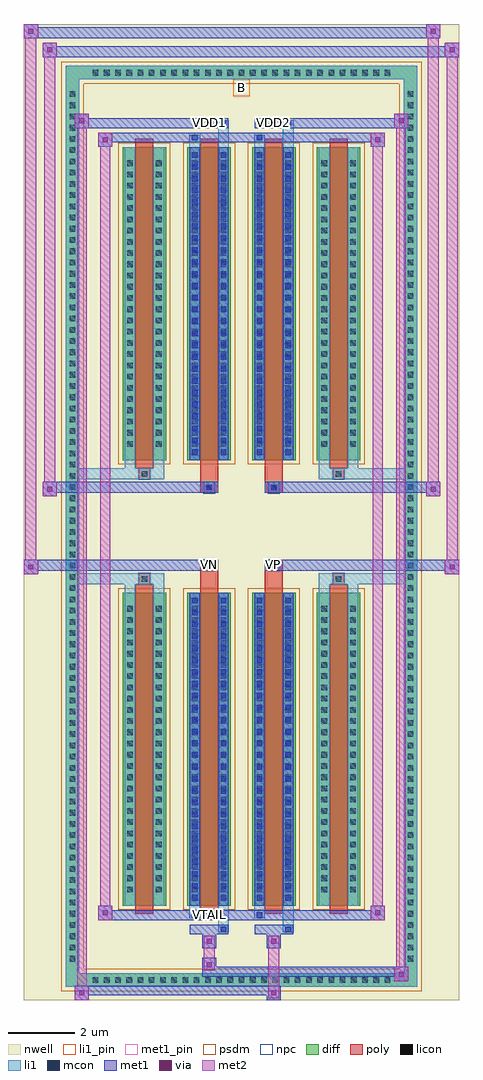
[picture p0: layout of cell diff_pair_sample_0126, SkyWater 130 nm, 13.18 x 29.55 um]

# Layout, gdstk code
import gdstk
lib = gdstk.Library(unit=1e-6, precision=5e-09)
def R(c, l, rs):  # rectangles x0, y0, x1, y1
    for r in rs: c.add(gdstk.rectangle(r[:2], r[2:], *l))
def A(c, l, x, y, w, h, nx, ny, dx, dy):  # array of equal rectangles
    R(c, l, [(x+i*dx, y+j*dy, x+i*dx+w, y+j*dy+h) for i in range(nx) for j in range(ny)])
def P(c, l, *ps):  # polygons
    for p in ps: c.add(gdstk.Polygon(p, *l))
nwell = (64, 20)
diff = (65, 20)
poly = (66, 20)
licon = (66, 44)
li1_pin = (67, 16)
li1 = (67, 20)
mcon = (67, 44)
met1_pin = (68, 16)
met1 = (68, 20)
via = (68, 44)
met2 = (69, 20)
psdm = (94, 20)
npc = (95, 20)

diff_pair_sample_0126 = lib.new_cell('diff_pair_sample_0126')
R(diff_pair_sample_0126, nwell, [(-6.59,-14.34,6.59,15.21), (-3.91,-12.53,-0.01,-0.815), (0.01,-12.53,3.91,-0.815), (-3.91,0.815,-0.01,12.53), (0.01,0.815,3.91,12.53)])
A(diff_pair_sample_0126, diff, -4.625, -13.94, 0.41, 0.41, 27, 2, 0.34, 27.47)
A(diff_pair_sample_0126, diff, -5.32, -13.295, 0.41, 0.41, 1, 78, 0, 0.34)
A(diff_pair_sample_0126, diff, 4.91, -13.295, 0.41, 0.41, 1, 78, 0, 0.34)
A(diff_pair_sample_0126, diff, -3.6, -11.485, 1.32, 9.48, 4, 2, 1.96, 13.49)
R(diff_pair_sample_0126, diff, [(-4.625,-13.94,4.625,-13.53), (-5.32,-13.295,-4.91,13.295), (4.91,-13.295,5.32,13.295), (-4.625,13.53,4.625,13.94)])
P(diff_pair_sample_0126, diff, [(5.32,13.94),(-5.32,13.94),(-5.32,-13.53),(-4.91,-13.53),(-4.91,13.53),(4.91,13.53),(4.91,-13.53),(-4.91,-13.53),(-5.32,-13.53),(-5.32,-13.94),(5.32,-13.94)])
A(diff_pair_sample_0126, poly, -3.21, -11.735, 0.54, 9.98, 4, 2, 1.96, 13.49)
R(diff_pair_sample_0126, poly, [(-3.105,-1.755,-2.775,-1.425), (-3.105,-1.755,-2.775,-1.425), (-1.25,-1.755,-0.71,-1.345), (0.71,-1.755,1.25,-1.345), (2.775,-1.755,3.105,-1.425), (2.775,-1.755,3.105,-1.425), (-1.25,-1.345,-0.71,-1.015), (-1.145,-1.345,-0.815,-1.015), (0.71,-1.345,1.25,-1.015), (0.815,-1.345,1.145,-1.015), (-1.25,1.015,-0.71,1.345), (-1.145,1.015,-0.815,1.345), (0.71,1.015,1.25,1.345), (0.815,1.015,1.145,1.345), (-1.25,1.345,-0.71,1.755), (0.71,1.345,1.25,1.755), (-3.105,1.425,-2.775,1.755), (-3.105,1.425,-2.775,1.755), (2.775,1.425,3.105,1.755), (2.775,1.425,3.105,1.755)])
A(diff_pair_sample_0126, licon, -4.505, -13.82, 0.17, 0.17, 27, 2, 0.34, 27.47)
A(diff_pair_sample_0126, licon, -5.2, -13.175, 0.17, 0.17, 1, 78, 0, 0.34)
A(diff_pair_sample_0126, licon, 5.03, -13.175, 0.17, 0.17, 1, 78, 0, 0.34)
A(diff_pair_sample_0126, licon, -3.46, -11.08, 0.17, 0.17, 1, 26, 0, 0.34)
A(diff_pair_sample_0126, licon, -2.59, -11.08, 0.17, 0.17, 1, 26, 0, 0.34)
A(diff_pair_sample_0126, licon, -1.5, -11.08, 0.17, 0.17, 1, 26, 0, 0.34)
A(diff_pair_sample_0126, licon, -0.63, -11.08, 0.17, 0.17, 1, 26, 0, 0.34)
A(diff_pair_sample_0126, licon, 0.46, -11.08, 0.17, 0.17, 1, 26, 0, 0.34)
A(diff_pair_sample_0126, licon, 1.33, -11.08, 0.17, 0.17, 1, 26, 0, 0.34)
A(diff_pair_sample_0126, licon, 2.42, -11.08, 0.17, 0.17, 1, 26, 0, 0.34)
A(diff_pair_sample_0126, licon, 3.29, -11.08, 0.17, 0.17, 1, 26, 0, 0.34)
A(diff_pair_sample_0126, licon, -3.46, 2.41, 0.17, 0.17, 1, 26, 0, 0.34)
A(diff_pair_sample_0126, licon, -2.59, 2.41, 0.17, 0.17, 1, 26, 0, 0.34)
A(diff_pair_sample_0126, licon, -1.5, 2.41, 0.17, 0.17, 1, 26, 0, 0.34)
A(diff_pair_sample_0126, licon, -0.63, 2.41, 0.17, 0.17, 1, 26, 0, 0.34)
A(diff_pair_sample_0126, licon, 0.46, 2.41, 0.17, 0.17, 1, 26, 0, 0.34)
A(diff_pair_sample_0126, licon, 1.33, 2.41, 0.17, 0.17, 1, 26, 0, 0.34)
A(diff_pair_sample_0126, licon, 2.42, 2.41, 0.17, 0.17, 1, 26, 0, 0.34)
A(diff_pair_sample_0126, licon, 3.29, 2.41, 0.17, 0.17, 1, 26, 0, 0.34)
R(diff_pair_sample_0126, licon, [(-3.025,-1.675,-2.855,-1.505), (2.855,-1.675,3.025,-1.505), (-1.065,-1.265,-0.895,-1.095), (0.895,-1.265,1.065,-1.095), (-1.065,1.095,-0.895,1.265), (0.895,1.095,1.065,1.265), (-3.025,1.505,-2.855,1.675), (2.855,1.505,3.025,1.675)])
R(diff_pair_sample_0126, li1_pin, [(-0.25,13.03,0.25,13.53)])
A(diff_pair_sample_0126, li1, -4.585, -13.9, 0.33, 0.33, 27, 2, 0.34, 27.47)
A(diff_pair_sample_0126, li1, -5.28, -13.255, 0.33, 0.33, 1, 78, 0, 0.34)
A(diff_pair_sample_0126, li1, 4.95, -13.255, 0.33, 0.33, 1, 78, 0, 0.34)
A(diff_pair_sample_0126, li1, -1.5, -11.33, 0.17, 0.17, 1, 26, 0, 0.36)
A(diff_pair_sample_0126, li1, -0.63, -11.33, 0.17, 0.17, 1, 26, 0, 0.36)
A(diff_pair_sample_0126, li1, 0.46, -11.33, 0.17, 0.17, 1, 26, 0, 0.36)
A(diff_pair_sample_0126, li1, 1.33, -11.33, 0.17, 0.17, 1, 26, 0, 0.36)
A(diff_pair_sample_0126, li1, -3.54, -11.16, 0.33, 0.33, 1, 26, 0, 0.34)
A(diff_pair_sample_0126, li1, -2.67, -11.16, 0.33, 0.33, 1, 26, 0, 0.34)
A(diff_pair_sample_0126, li1, -1.58, -11.16, 0.33, 0.33, 1, 26, 0, 0.34)
A(diff_pair_sample_0126, li1, -0.71, -11.16, 0.33, 0.33, 1, 26, 0, 0.34)
A(diff_pair_sample_0126, li1, 0.38, -11.16, 0.33, 0.33, 1, 26, 0, 0.34)
A(diff_pair_sample_0126, li1, 1.25, -11.16, 0.33, 0.33, 1, 26, 0, 0.34)
A(diff_pair_sample_0126, li1, 2.34, -11.16, 0.33, 0.33, 1, 26, 0, 0.34)
A(diff_pair_sample_0126, li1, 3.21, -11.16, 0.33, 0.33, 1, 26, 0, 0.34)
A(diff_pair_sample_0126, li1, -1.5, 2.16, 0.17, 0.17, 1, 26, 0, 0.36)
A(diff_pair_sample_0126, li1, -0.63, 2.16, 0.17, 0.17, 1, 26, 0, 0.36)
A(diff_pair_sample_0126, li1, 0.46, 2.16, 0.17, 0.17, 1, 26, 0, 0.36)
A(diff_pair_sample_0126, li1, 1.33, 2.16, 0.17, 0.17, 1, 26, 0, 0.36)
A(diff_pair_sample_0126, li1, -3.54, 2.33, 0.33, 0.33, 1, 26, 0, 0.34)
A(diff_pair_sample_0126, li1, -2.67, 2.33, 0.33, 0.33, 1, 26, 0, 0.34)
A(diff_pair_sample_0126, li1, -1.58, 2.33, 0.33, 0.33, 1, 26, 0, 0.34)
A(diff_pair_sample_0126, li1, -0.71, 2.33, 0.33, 0.33, 1, 26, 0, 0.34)
A(diff_pair_sample_0126, li1, 0.38, 2.33, 0.33, 0.33, 1, 26, 0, 0.34)
A(diff_pair_sample_0126, li1, 1.25, 2.33, 0.33, 0.33, 1, 26, 0, 0.34)
A(diff_pair_sample_0126, li1, 2.34, 2.33, 0.33, 0.33, 1, 26, 0, 0.34)
A(diff_pair_sample_0126, li1, 3.21, 2.33, 0.33, 0.33, 1, 26, 0, 0.34)
R(diff_pair_sample_0126, li1, [(-5.32,-13.94,-4.91,-13.53), (-5.32,-13.94,-4.91,-13.53), (-4.91,-13.94,4.91,-13.53), (4.91,-13.94,5.32,-13.53), (4.91,-13.94,5.32,-13.53), (-5.32,-13.53,-4.91,13.53), (4.91,-13.53,5.32,13.53), (-0.71,-12.29,-0.38,-11.485), (-0.63,-12.29,-0.46,-12.12), (1.25,-12.29,1.58,-11.485), (1.33,-12.29,1.5,-12.12), (-1.58,-11.86,-1.25,-11.485), (-1.5,-11.86,-1.33,-11.69), (0.38,-11.86,0.71,-11.485), (0.46,-11.86,0.63,-11.69), (-3.54,-11.485,-3.21,-2.005), (-2.67,-11.485,-2.34,-2.005), (-1.58,-11.485,-1.25,-2.005), (-0.71,-11.485,-0.38,-2.005), (0.38,-11.485,0.71,-2.005), (1.25,-11.485,1.58,-2.005), (2.34,-11.485,2.67,-2.005), (3.21,-11.485,3.54,-2.005), (-1.5,-11.33,-1.33,-2.16), (-0.63,-11.33,-0.46,-2.16), (0.46,-11.33,0.63,-2.16), (1.33,-11.33,1.5,-2.16), (-3.54,-2.005,-3.21,-1.425), (-2.67,-2.005,-2.34,-1.425), (2.34,-2.005,2.67,-1.425), (3.21,-2.005,3.54,-1.425), (-5.32,-1.755,-3.105,-1.425), (-3.54,-1.755,-3.105,-1.425), (-3.105,-1.755,-2.775,-1.425), (-2.775,-1.755,-2.34,-1.425), (2.34,-1.755,2.775,-1.425), (2.775,-1.755,3.105,-1.425), (2.775,-1.755,5.32,-1.425), (3.105,-1.755,3.54,-1.425), (-1.145,-1.345,-0.815,-1.015), (0.815,-1.345,1.145,-1.015), (-1.145,1.015,-0.815,1.345), (0.815,1.015,1.145,1.345), (-5.32,1.425,-3.105,1.755), (-3.54,1.425,-3.105,1.755), (-3.54,1.425,-3.21,2.005), (-3.105,1.425,-2.775,1.755), (-2.775,1.425,-2.34,1.755), (-2.67,1.425,-2.34,2.005), (2.34,1.425,2.775,1.755), (2.34,1.425,2.67,2.005), (2.775,1.425,3.105,1.755), (2.775,1.425,5.32,1.755), (3.105,1.425,3.54,1.755), (3.21,1.425,3.54,2.005), (-3.54,2.005,-3.21,11.485), (-2.67,2.005,-2.34,11.485), (-1.58,2.005,-1.25,11.485), (-0.71,2.005,-0.38,11.485), (0.38,2.005,0.71,11.485), (1.25,2.005,1.58,11.485), (2.34,2.005,2.67,11.485), (3.21,2.005,3.54,11.485), (-1.5,2.16,-1.33,11.33), (-0.63,2.16,-0.46,11.33), (0.46,2.16,0.63,11.33), (1.33,2.16,1.5,11.33), (-1.58,11.485,-1.25,11.86), (-0.71,11.485,-0.38,12.29), (0.38,11.485,0.71,11.86), (1.25,11.485,1.58,12.29), (-1.5,11.69,-1.33,11.86), (0.46,11.69,0.63,11.86), (-0.63,12.12,-0.46,12.29), (1.33,12.12,1.5,12.29), (-5.32,13.53,-4.91,13.94), (-5.32,13.53,-4.91,13.94), (-4.91,13.53,4.91,13.94), (4.91,13.53,5.32,13.94), (4.91,13.53,5.32,13.94)])
A(diff_pair_sample_0126, mcon, -1.5, -11.33, 0.17, 0.17, 1, 26, 0, 0.36)
A(diff_pair_sample_0126, mcon, -0.63, -11.33, 0.17, 0.17, 1, 26, 0, 0.36)
A(diff_pair_sample_0126, mcon, 0.46, -11.33, 0.17, 0.17, 1, 26, 0, 0.36)
A(diff_pair_sample_0126, mcon, 1.33, -11.33, 0.17, 0.17, 1, 26, 0, 0.36)
A(diff_pair_sample_0126, mcon, -1.5, 2.16, 0.17, 0.17, 1, 26, 0, 0.36)
A(diff_pair_sample_0126, mcon, -0.63, 2.16, 0.17, 0.17, 1, 26, 0, 0.36)
A(diff_pair_sample_0126, mcon, 0.46, 2.16, 0.17, 0.17, 1, 26, 0, 0.36)
A(diff_pair_sample_0126, mcon, 1.33, 2.16, 0.17, 0.17, 1, 26, 0, 0.36)
R(diff_pair_sample_0126, mcon, [(-0.63,-12.29,-0.46,-12.12), (1.33,-12.29,1.5,-12.12), (-1.5,-11.86,-1.33,-11.69), (0.46,-11.86,0.63,-11.69), (-1.065,-1.265,-0.895,-1.095), (0.895,-1.265,1.065,-1.095), (-1.065,1.095,-0.895,1.265), (0.895,1.095,1.065,1.265), (-1.5,11.69,-1.33,11.86), (0.46,11.69,0.63,11.86), (-0.63,12.12,-0.46,12.29), (1.33,12.12,1.5,12.29)])
R(diff_pair_sample_0126, met1_pin, [(-1.115,-11.9,-0.845,-11.63), (-1.115,-1.285,-0.845,-1.015), (0.845,-1.285,1.115,-1.015), (-1.115,12.08,-0.845,12.35), (0.845,12.08,1.115,12.35)])
A(diff_pair_sample_0126, met1, -1.56, -11.39, 0.29, 0.29, 1, 26, 0, 0.36)
A(diff_pair_sample_0126, met1, -0.69, -11.39, 0.29, 0.29, 1, 26, 0, 0.36)
A(diff_pair_sample_0126, met1, 0.4, -11.39, 0.29, 0.29, 1, 26, 0, 0.36)
A(diff_pair_sample_0126, met1, 1.27, -11.39, 0.29, 0.29, 1, 26, 0, 0.36)
A(diff_pair_sample_0126, met1, -1.56, 2.1, 0.29, 0.29, 1, 26, 0, 0.36)
A(diff_pair_sample_0126, met1, -0.69, 2.1, 0.29, 0.29, 1, 26, 0, 0.36)
A(diff_pair_sample_0126, met1, 0.4, 2.1, 0.29, 0.29, 1, 26, 0, 0.36)
A(diff_pair_sample_0126, met1, 1.27, 2.1, 0.29, 0.29, 1, 26, 0, 0.36)
R(diff_pair_sample_0126, met1, [(-5.05,-14.34,-4.62,-13.91), (0.765,-14.34,1.195,-13.91), (-5.05,-14.2,1.195,-13.91), (4.62,-13.77,5.05,-13.34), (-1.195,-13.63,5.05,-13.34), (-1.195,-13.49,-0.765,-13.06), (-1.195,-12.78,-0.765,-12.35), (0.765,-12.78,1.195,-12.35), (-1.56,-12.35,-0.4,-12.06), (-0.69,-12.35,-0.4,-12.06), (0.4,-12.35,1.56,-12.06), (1.27,-12.35,1.56,-12.06), (-4.34,-11.92,-3.91,-11.49), (-4.34,-11.92,-1.56,-11.63), (-1.56,-11.92,-1.27,-11.63), (-1.56,-11.92,-0.4,-11.63), (-0.4,-11.92,0.4,-11.63), (0.4,-11.92,0.69,-11.63), (0.4,-11.92,1.56,-11.63), (1.56,-11.92,4.34,-11.63), (3.91,-11.92,4.34,-11.49), (-1.56,-11.485,-1.27,-2.005), (-0.69,-11.485,-0.4,-2.005), (0.4,-11.485,0.69,-2.005), (1.27,-11.485,1.56,-2.005), (-6.59,-1.445,-6.16,-1.015), (6.16,-1.445,6.59,-1.015), (-6.59,-1.345,-0.71,-1.015), (-1.25,-1.345,-0.71,-1.015), (0.71,-1.345,1.25,-1.015), (0.71,-1.345,6.59,-1.015), (-1.125,-1.325,-0.835,-1.035), (0.835,-1.325,1.125,-1.035), (-6.02,0.915,-5.59,1.345), (5.59,0.915,6.02,1.345), (-6.02,1.015,-1.25,1.345), (-1.25,1.015,-0.71,1.345), (0.71,1.015,1.25,1.345), (1.25,1.015,6.02,1.345), (-1.125,1.035,-0.835,1.325), (0.835,1.035,1.125,1.325), (-1.56,2.005,-1.27,11.485), (-0.69,2.005,-0.4,11.485), (0.4,2.005,0.69,11.485), (1.27,2.005,1.56,11.485), (-4.34,11.49,-3.91,11.92), (3.91,11.49,4.34,11.92), (-4.34,11.63,-1.56,11.92), (-1.56,11.63,-1.27,11.92), (-1.56,11.63,-0.4,11.92), (-0.4,11.63,0.4,11.92), (0.4,11.63,0.69,11.92), (0.4,11.63,1.56,11.92), (1.56,11.63,4.34,11.92), (-5.05,12.06,-4.62,12.49), (-5.05,12.06,-1.56,12.35), (-1.56,12.06,-0.4,12.35), (-0.69,12.06,-0.4,12.35), (0.4,12.06,1.56,12.35), (1.27,12.06,1.56,12.35), (1.56,12.06,5.05,12.35), (4.62,12.06,5.05,12.49), (-6.02,14.21,-5.59,14.64), (-6.02,14.21,-3.91,14.54), (-3.91,14.21,3.91,14.54), (3.91,14.21,6.59,14.54), (6.16,14.21,6.59,14.64), (-6.59,14.78,-6.16,15.21), (-6.59,14.78,-3.91,15.11), (-3.91,14.78,3.91,15.11), (3.91,14.78,6.02,15.11), (5.59,14.78,6.02,15.21)])
R(diff_pair_sample_0126, via, [(-4.91,-14.2,-4.76,-14.05), (0.905,-14.2,1.055,-14.05), (4.76,-13.63,4.91,-13.48), (-1.055,-13.35,-0.905,-13.2), (-1.055,-12.64,-0.905,-12.49), (0.905,-12.64,1.055,-12.49), (-4.2,-11.78,-4.05,-11.63), (4.05,-11.78,4.2,-11.63), (-6.45,-1.305,-6.3,-1.155), (6.3,-1.305,6.45,-1.155), (-5.88,1.055,-5.73,1.205), (5.73,1.055,5.88,1.205), (-4.2,11.63,-4.05,11.78), (4.05,11.63,4.2,11.78), (-4.91,12.2,-4.76,12.35), (4.76,12.2,4.91,12.35), (-5.88,14.35,-5.73,14.5), (6.3,14.35,6.45,14.5), (-6.45,14.92,-6.3,15.07), (5.73,14.92,5.88,15.07)])
R(diff_pair_sample_0126, met2, [(-5.05,-14.34,-4.62,-13.91), (-4.98,-14.34,-4.69,12.49), (-4.69,-14.34,-4.62,-13.91), (-5,-14.29,-4.67,-13.96), (0.815,-14.29,1.145,-13.96), (0.815,-13.96,1.145,-12.73), (4.62,-13.77,5.05,-13.34), (4.69,-13.77,4.98,12.49), (4.98,-13.77,5.05,-13.34), (4.67,-13.72,5,-13.39), (-1.145,-13.44,-0.815,-13.11), (-1.145,-13.11,-0.815,-12.73), (-1.145,-12.73,-0.815,-12.4), (0.815,-12.73,1.145,-12.4), (-4.34,-11.92,-3.91,-11.49), (-4.27,-11.92,-3.98,11.92), (-3.98,-11.92,-3.91,-11.49), (3.91,-11.92,4.34,-11.49), (3.98,-11.92,4.27,11.92), (4.27,-11.92,4.34,-11.49), (-4.29,-11.87,-3.96,-11.54), (3.96,-11.87,4.29,-11.54), (-6.59,-1.445,-6.16,-1.015), (-6.54,-1.445,-6.21,15.21), (-6.21,-1.445,-6.16,-1.015), (6.16,-1.445,6.59,-1.015), (6.21,-1.445,6.54,14.64), (6.54,-1.445,6.59,-1.015), (-6.54,-1.395,-6.21,-1.065), (6.21,-1.395,6.54,-1.065), (-6.02,0.915,-5.59,1.345), (-5.97,0.915,-5.64,14.64), (-5.64,0.915,-5.59,1.345), (5.59,0.915,6.02,1.345), (5.64,0.915,5.97,15.21), (5.97,0.915,6.02,1.345), (-5.97,0.965,-5.64,1.295), (5.64,0.965,5.97,1.295), (-4.34,11.49,-3.91,11.92), (-3.98,11.49,-3.91,11.92), (3.91,11.49,4.34,11.92), (4.27,11.49,4.34,11.92), (-4.29,11.54,-3.96,11.87), (3.96,11.54,4.29,11.87), (-5.05,12.06,-4.62,12.49), (-4.69,12.06,-4.62,12.49), (4.62,12.06,5.05,12.49), (4.98,12.06,5.05,12.49), (-5,12.11,-4.67,12.44), (4.67,12.11,5,12.44), (-6.02,14.21,-5.59,14.64), (-5.64,14.21,-5.59,14.64), (6.16,14.21,6.59,14.64), (6.54,14.21,6.59,14.64), (-5.97,14.26,-5.64,14.59), (6.21,14.26,6.54,14.59), (-6.59,14.78,-6.16,15.21), (-6.21,14.78,-6.16,15.21), (5.59,14.78,6.02,15.21), (5.97,14.78,6.02,15.21), (-6.54,14.83,-6.21,15.16), (5.64,14.83,5.97,15.16)])
A(diff_pair_sample_0126, psdm, -3.73, -11.615, 1.58, 9.74, 4, 2, 1.96, 13.49)
P(diff_pair_sample_0126, psdm, [(5.45,14.07),(-5.45,14.07),(-5.45,-13.4),(-4.78,-13.4),(-4.78,13.4),(4.78,13.4),(4.78,-13.4),(-4.78,-13.4),(-5.45,-13.4),(-5.45,-14.07),(5.45,-14.07)])
R(diff_pair_sample_0126, npc, [(-3.125,-1.775,-2.755,-1.405), (2.755,-1.775,3.125,-1.405), (-1.165,-1.365,-0.795,-0.995), (0.795,-1.365,1.165,-0.995), (-1.165,0.995,-0.795,1.365), (0.795,0.995,1.165,1.365), (-3.125,1.405,-2.755,1.775), (2.755,1.405,3.125,1.775)])
diff_pair_sample_0126.add(gdstk.Label('VTAIL', (-0.98,-11.765), layer=68, texttype=5))
diff_pair_sample_0126.add(gdstk.Label('VN', (-0.98,-1.15), layer=68, texttype=5))
diff_pair_sample_0126.add(gdstk.Label('VP', (0.98,-1.15), layer=68, texttype=5))
diff_pair_sample_0126.add(gdstk.Label('B', (0,13.28), layer=67, texttype=5))
diff_pair_sample_0126.add(gdstk.Label('VDD2', (0.98,12.215), layer=68, texttype=5))
diff_pair_sample_0126.add(gdstk.Label('VDD1', (-0.98,12.215), layer=68, texttype=5))

lib.write_gds('diff_pair_sample_0126.gds')
